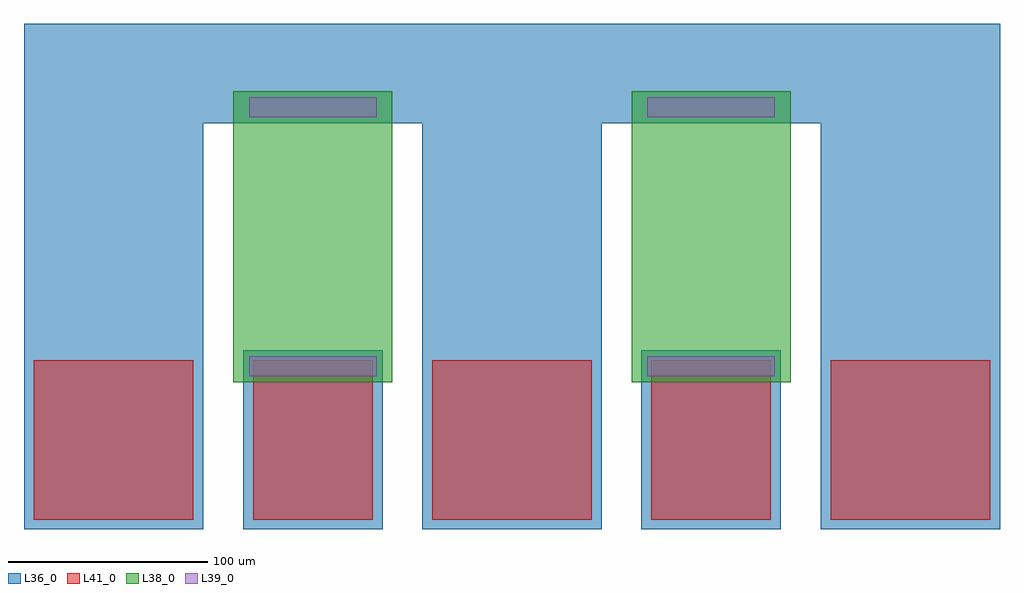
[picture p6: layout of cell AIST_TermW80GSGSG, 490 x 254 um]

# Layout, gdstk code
import gdstk
lib = gdstk.Library(unit=1e-6, precision=1e-09)
def R(c, l, rs):  # rectangles x0, y0, x1, y1
    for r in rs: c.add(gdstk.rectangle(r[:2], r[2:], *l))
def A(c, l, x, y, w, h, nx, ny, dx, dy):  # array of equal rectangles
    R(c, l, [(x+i*dx, y+j*dy, x+i*dx+w, y+j*dy+h) for i in range(nx) for j in range(ny)])
L36_0 = (36, 0)
L38_0 = (38, 0)
L39_0 = (39, 0)
L41_0 = (41, 0)

aist_termw80gsgsg = lib.new_cell('AIST_TermW80GSGSG')
A(aist_termw80gsgsg, L36_0, 0, 0, 90, 90, 3, 1, 200, 0)
A(aist_termw80gsgsg, L36_0, 0, 90, 90, 114, 3, 1, 200, 0)
R(aist_termw80gsgsg, L36_0, [(0,0,90,90), (110,0,180,90), (310,0,380,90), (0,204,490,254)])
R(aist_termw80gsgsg, L38_0, [(105,74,185,220), (305,74,385,220)])
R(aist_termw80gsgsg, L39_0, [(113,77,177,87), (313,77,377,87), (113,207,177,217), (313,207,377,217)])
A(aist_termw80gsgsg, L41_0, 5, 5, 80, 80, 3, 1, 200, 0)
R(aist_termw80gsgsg, L41_0, [(5,5,85,85), (115,5,175,85), (315,5,375,85)])

lib.write_gds('AIST_TermW80GSGSG.gds')
